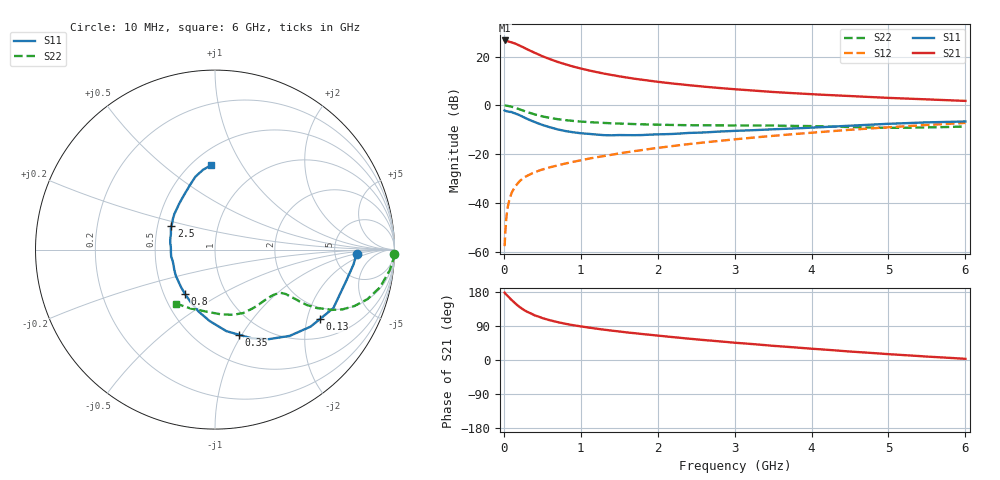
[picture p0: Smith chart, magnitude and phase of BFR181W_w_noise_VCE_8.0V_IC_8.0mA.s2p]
! Infineon Technologies  Discrete & RF Semiconductors
! BFR181W
! VCE =  8.0 V,  IC =  8.0 mA
! Common Emitter S-Parameters:  Jan 2017
# GHz  S  MA  R  50
!  f  S11  S21  S12  S22
! GHz  MAG  ANG  MAG  ANG  MAG  ANG  MAG  ANG
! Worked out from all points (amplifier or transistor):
!   77 points, 10 MHz to 6 GHz, reference 50 ohm
!   highest |S21| = 26.7 dB at 10 MHz (marker M1)
!   |S21| within 3 dB of that: start of sweep to 264.4 MHz
!   unconditionally stable (mu >= 1): 1.19 GHz to 3.01 GHz
!   at 130 MHz: K = 0.23, MSG = 29.9 dB, |S12| = -34.2 dB
!   at 2.2 GHz: K = 1.05, MAG = 11.4 dB, |S12| = -16.6 dB
!   at 6 GHz: K = 0.85, MSG = 4.5 dB, |S12| = -7.2 dB
!   lowest NFmin = 1.14 dB at 450 MHz
!   S11 on the Smith chart (normalised r, x): 10 MHz: 8.40, -1.05; 130 MHz: 1.57, -2.40; 350 MHz: 0.78, -0.97; 800 MHz: 0.64, -0.35; 2.5 GHz: 0.59, +0.17; 6 GHz: 0.61, +0.74
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0.01  0.7902 -1.7  21.53 177.8  0.0013 92.2  0.9955 -1.3
0.02  0.7751 -6.4  21.17 174.9  0.0027 97.1  0.9976 -2.6
0.05  0.752 -13.2  20.73 168.8  0.0081 83.5  0.9805 -6.7
0.1  0.7357 -26.3  19.75 158.4  0.0159 77.6  0.9438 -12.8
0.13  0.7007 -33.6  18.95 153.0  0.0195 73.8  0.9126 -15.9
0.15  0.6842 -38.8  18.51 149.2  0.022 72.0  0.8934 -18.0
0.2  0.6359 -49.1  17.02 140.6  0.0274 70.0  0.8385 -22.0
0.25  0.5817 -59.1  15.65 133.5  0.0324 65.8  0.7849 -25.1
0.3  0.5336 -67.7  14.28 127.4  0.0359 63.0  0.7347 -27.2
0.35  0.4921 -74.4  13.12 123.1  0.0393 61.7  0.6951 -28.4
0.4  0.4584 -82.1  12.05 117.9  0.0427 60.6  0.6558 -29.8
0.5  0.399 -94.3  10.25 110.7  0.0485 60.1  0.5975 -31.1
0.6  0.3565 -105.0  8.9 104.8  0.0539 60.8  0.5551 -31.5
0.8  0.2988 -123.9  6.986 95.6  0.0644 61.7  0.5005 -31.9
1.1  0.2618 -146.7  5.259 85.7  0.0808 63.7  0.4565 -32.5
1.6  0.2461 -176.2  3.732 72.8  0.1098 65.0  0.4204 -36.1
2.1  0.2576 164.0  2.934 62.4  0.141 65.0  0.4004 -42.5
2.5  0.2759 151.6  2.519 54.6  0.1675 64.0  0.3925 -49.0
3.1  0.3049 136.4  2.098 44.1  0.2089 61.5  0.3879 -59.2
4.1  0.3568 117.6  1.672 28.4  0.2839 55.6  0.3733 -76.4
5.1  0.4262 103.6  1.41 14.2  0.3647 47.6  0.3481 -101.4
6  0.4695 92.9  1.24 3.1  0.4382 39.0  0.3712 -125.9
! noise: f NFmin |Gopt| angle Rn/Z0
0.45  1.14  0.2  16  0.21
0.9  1.18  0.19  31  0.21
1.9  1.6  0.07  92  0.2
2.4  1.76  0.06  100  0.23
